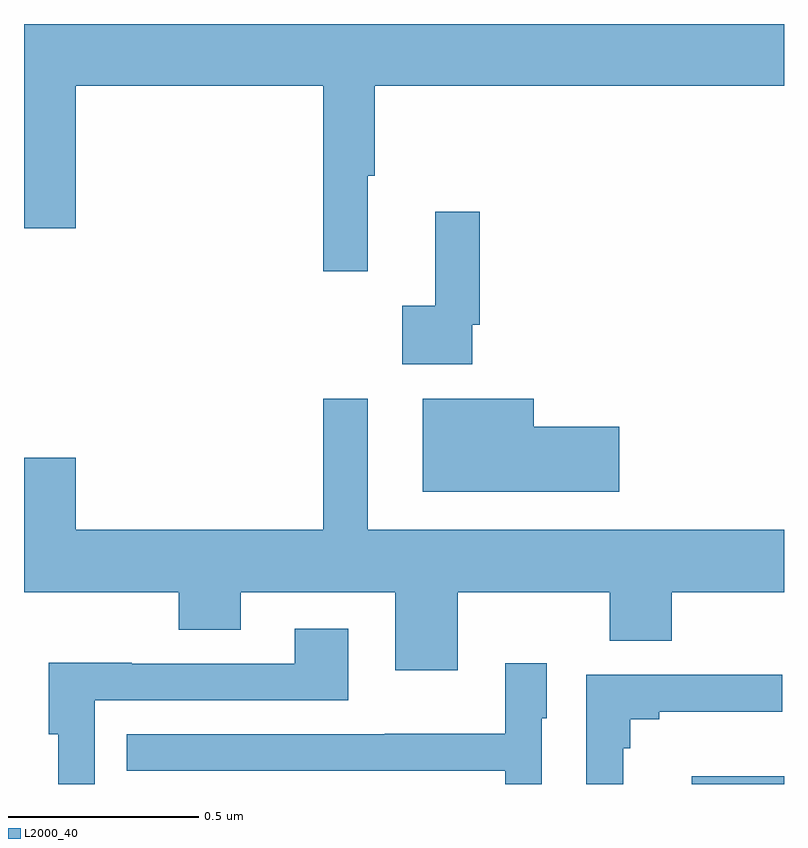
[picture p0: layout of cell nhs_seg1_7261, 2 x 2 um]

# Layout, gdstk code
import gdstk
lib = gdstk.Library(unit=1e-6, precision=1e-09)
def R(c, l, rs):  # rectangles x0, y0, x1, y1
    for r in rs: c.add(gdstk.rectangle(r[:2], r[2:], *l))
def P(c, l, *ps):  # polygons
    for p in ps: c.add(gdstk.Polygon(p, *l))
L2000_40 = (2000, 40)

nhs_seg1_7261 = lib.new_cell('nhs_seg1_7261')
R(nhs_seg1_7261, L2000_40, [(202.757,579.199,203,579.22)])
P(nhs_seg1_7261, L2000_40, [(201.905,580.8),(201.923,580.8),(201.923,581.036),(203,581.036),(203,581.199),(201,581.199),(201,580.662),(201.136,580.662),(201.136,581.036),(201.787,581.036),(201.787,580.548),(201.905,580.548)],
  [(202.179,580.408),(202.199,580.408),(202.199,580.705),(202.082,580.705),(202.082,580.457),(201.996,580.457),(201.996,580.304),(202.179,580.304)],
  [(202.141,579.704),(202.541,579.704),(202.541,579.576),(202.705,579.576),(202.705,579.704),(203,579.704),(203,579.868),(201.904,579.868),(201.904,580.213),(201.787,580.213),(201.787,579.868),(201.136,579.868),(201.136,580.057),(201,580.057),(201,579.704),(201.407,579.704),(201.407,579.605),(201.571,579.605),(201.571,579.704),(201.977,579.704),(201.977,579.498),(202.141,579.498)],
  [(202.567,580.139),(202.342,580.139),(202.342,580.213),(202.049,580.213),(202.049,579.968),(202.567,579.968)],
  [(201.186,579.42),(201.853,579.42),(201.853,579.607),(201.713,579.607),(201.713,579.516),(201.283,579.516),(201.283,579.518),(201.065,579.518),(201.065,579.33),(201.09,579.33),(201.09,579.199),(201.186,579.199)],
  [(202.362,579.372),(202.375,579.372),(202.375,579.517),(202.266,579.517),(202.266,579.331),(201.949,579.331),(201.949,579.33),(201.271,579.33),(201.271,579.234),(202.266,579.234),(202.266,579.199),(202.362,579.199)],
  [(202.577,579.293),(202.595,579.293),(202.595,579.37),(202.672,579.37),(202.672,579.389),(202.996,579.389),(202.996,579.486),(202.479,579.486),(202.479,579.199),(202.577,579.199)])

lib.write_gds('nhs_seg1_7261.gds')
